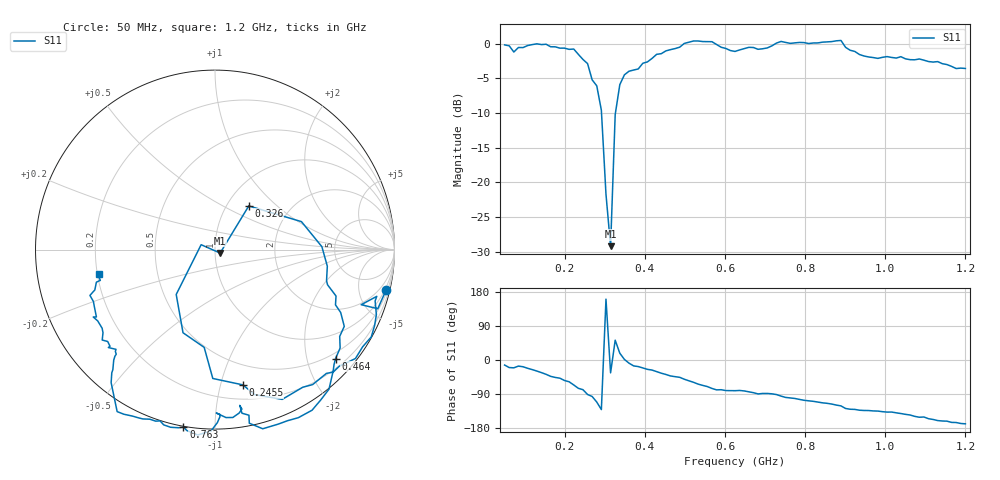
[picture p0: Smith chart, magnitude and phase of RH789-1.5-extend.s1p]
# HZ S RI R 50
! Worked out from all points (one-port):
!   101 points, 50 MHz to 1.2 GHz, reference 50 ohm
!   lowest |S11| = -29.2 dB at 314.5 MHz (marker M1), VSWR 1.07, Z = 52.9 - j2.04 ohm
!   |S11| at or under -10 dB: 291.9 MHz to 326.6 MHz (34.77 MHz wide, 11.2 % of centre)
!   S11 on the Smith chart (normalised r, x): 50 MHz: 0.76, -8.50; 245.5 MHz: 0.32, -1.18; 326 MHz: 1.26, +0.68; 464 MHz: 0.38, -2.55; 763 MHz: -0.00, -0.84; 1.2 GHz: 0.21, -0.10
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5e7  0.9533 -0.2255
7.3e7  0.8144 -0.3071
9.6e7  0.8921 -0.2866
1.305e8  0.8707 -0.4864
1.995e8  0.5441 -0.7521
2.225e8  0.3742 -0.8346
2.455e8  0.1554 -0.7537
2.57e8  -0.0122 -0.718
2.915e8  -0.2161 -0.25
3.03e8  -0.0772 0.0273
3.145e8  0.0287 -0.0193
3.26e8  0.1882 0.2434
3.375e8  0.4817 0.1558
3.49e8  0.5955 0.0162
3.72e8  0.6215 -0.1729
4.295e8  0.7202 -0.4277
4.64e8  0.6717 -0.6069
4.87e8  0.6586 -0.6753
5.215e8  0.5408 -0.8948
5.675e8  0.266 -0.9982
6.25e8  0.1379 -0.8679
7.17e8  0.0134 -0.9638
7.63e8  -0.1762 -0.9892
7.745e8  -0.2027 -0.9925
8.895e8  -0.5452 -0.9027
9.125e8  -0.5751 -0.6868
1.062e9  -0.6289 -0.4379
1.2e9  -0.6489 -0.1332
